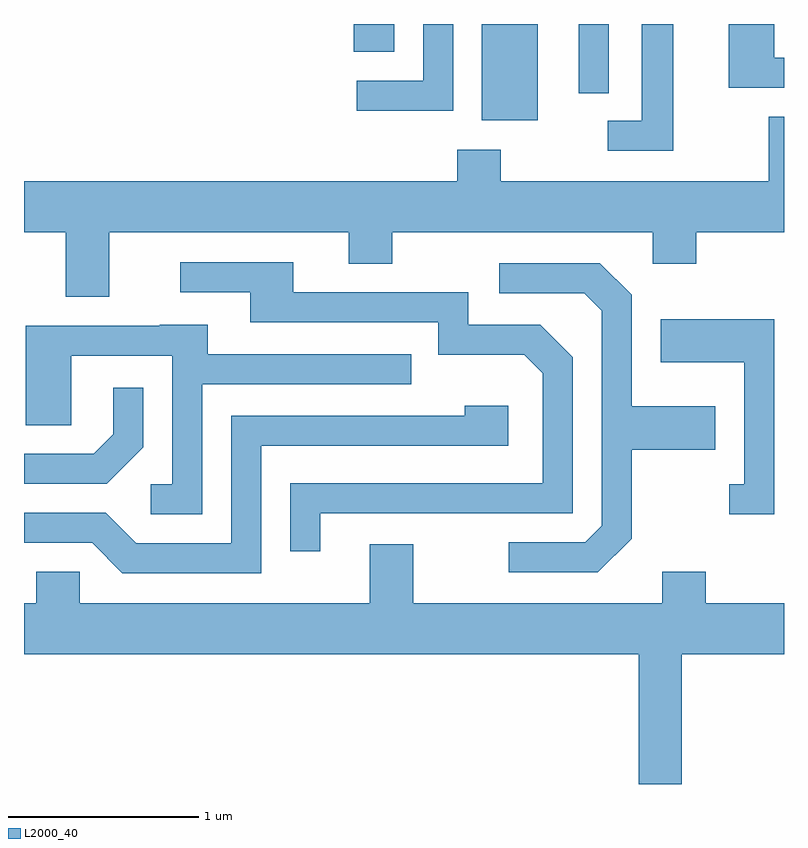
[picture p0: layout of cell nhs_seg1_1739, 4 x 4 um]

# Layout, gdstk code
import gdstk
lib = gdstk.Library(unit=1e-6, precision=1e-09)
def R(c, l, rs):  # rectangles x0, y0, x1, y1
    for r in rs: c.add(gdstk.rectangle(r[:2], r[2:], *l))
def P(c, l, *ps):  # polygons
    for p in ps: c.add(gdstk.Polygon(p, *l))
L2000_40 = (2000, 40)

nhs_seg1_1739 = lib.new_cell('nhs_seg1_1739')
R(nhs_seg1_1739, L2000_40, [(240.021,971.206,240.314,971.712), (240.531,971.348,240.689,971.712), (239.346,971.566,239.559,971.712)])
P(nhs_seg1_1739, L2000_40, [(241.611,971.534),(241.559,971.534),(241.559,971.712),(241.321,971.712),(241.321,971.376),(241.611,971.376)],
  [(241.029,971.712),(240.861,971.712),(240.861,971.204),(240.683,971.204),(240.683,971.046),(241.029,971.046)],
  [(239.869,971.712),(239.711,971.712),(239.711,971.414),(239.363,971.414),(239.363,971.256),(239.869,971.256)],
  [(238.059,970.616),(239.321,970.616),(239.321,970.451),(239.549,970.451),(239.549,970.616),(240.921,970.616),(240.921,970.451),(241.149,970.451),(241.149,970.616),(241.611,970.616),(241.611,971.224),(241.531,971.224),(241.531,970.884),(240.119,970.884),(240.119,971.049),(239.891,971.049),(239.891,970.884),(237.611,970.884),(237.611,970.616),(237.831,970.616),(237.831,970.276),(238.059,970.276)],
  [(239.169,969.136),(240.499,969.136),(240.499,969.957),(240.327,970.129),(239.949,970.129),(239.949,970.299),(239.029,970.299),(239.029,970.459),(238.433,970.459),(238.433,970.301),(238.801,970.301),(238.801,970.141),(239.791,970.141),(239.791,969.971),(240.244,969.971),(240.341,969.874),(240.341,969.294),(239.011,969.294),(239.011,968.938),(239.169,968.938)],
  [(240.809,969.004),(240.809,969.471),(241.249,969.471),(241.249,969.699),(240.809,969.699),(240.809,970.287),(240.642,970.454),(240.113,970.454),(240.113,970.296),(240.559,970.296),(240.651,970.204),(240.651,969.072),(240.564,968.984),(240.163,968.984),(240.163,968.826),(240.632,968.826)],
  [(241.559,970.159),(240.961,970.159),(240.961,969.931),(241.401,969.931),(241.401,969.289),(241.323,969.289),(241.323,969.131),(241.559,969.131)],
  [(238.549,969.816),(239.648,969.816),(239.648,969.974),(238.579,969.974),(238.579,970.129),(238.325,970.129),(238.325,970.124),(237.621,970.124),(237.621,969.601),(237.859,969.601),(237.859,969.966),(238.391,969.966),(238.391,969.289),(238.278,969.289),(238.278,969.131),(238.549,969.131)],
  [(238.239,969.484),(238.239,969.798),(238.081,969.798),(238.081,969.552),(237.979,969.449),(237.611,969.449),(237.611,969.291),(238.047,969.291)],
  [(238.859,969.491),(240.159,969.491),(240.159,969.704),(239.931,969.704),(239.931,969.649),(238.701,969.649),(238.701,968.979),(238.202,968.979),(238.042,969.139),(237.611,969.139),(237.611,968.981),(237.969,968.981),(238.129,968.821),(238.859,968.821)],
  [(240.846,967.712),(241.074,967.712),(241.074,968.396),(241.611,968.396),(241.611,968.664),(241.199,968.664),(241.199,968.829),(240.971,968.829),(240.971,968.664),(239.659,968.664),(239.659,968.974),(239.431,968.974),(239.431,968.664),(237.904,968.664),(237.904,968.829),(237.676,968.829),(237.676,968.664),(237.611,968.664),(237.611,968.396),(240.846,968.396)])

lib.write_gds('nhs_seg1_1739.gds')
